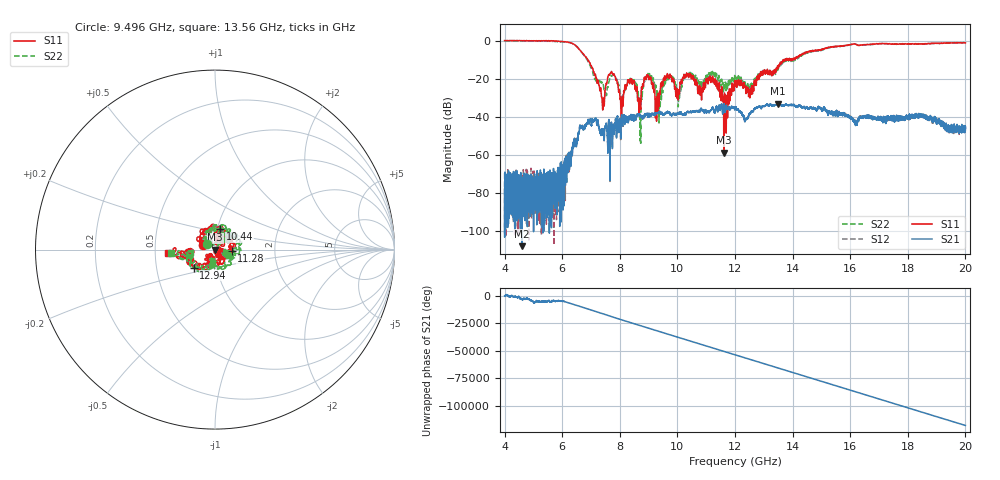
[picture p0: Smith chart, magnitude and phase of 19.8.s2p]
[Version] 2.0
! Rohde & Schwarz Vector Network Analyzer
! Rohde-Schwarz,ZNL20-2Port,1323001220200009,1.71.1.10-23.02.1.238
! Port Assignments:
! Nominal Port -> Actual Test Port
!  1 -> 1
!  2 -> 2
! Created: GMT+2 2025-01-17 12:13:22
# Hz S RI R 50
[Number of Ports] 2
[Two-Port Data Order] 21_12
! freq[Hz]  S11[Re]  S11[Im]  S21[Re]  S21[Im]  S12[Re]  S12[Im]  S22[Re]  S22[Im]
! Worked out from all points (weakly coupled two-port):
!   16001 points, 4 GHz to 20 GHz, reference 50 ohm
!   highest |S21| = -33.07 dB at 13.49 GHz (marker M1); lowest = -108.0 dB at 4.596 GHz (marker M2)
!   lowest |S11| = -58.9 dB at 11.61 GHz (marker M3), VSWR 1.00, Z = 50.1 - j0.0864 ohm
!   |S11| at or under -10 dB: 6.885 GHz to 13.7 GHz (6.816 GHz wide, 66.2 % of centre); 13.71245 GHz to 13.74197 GHz (29.53 MHz wide, 0.215 % of centre); 13.94236 GHz to 13.96575 GHz (23.39 MHz wide, 0.168 % of centre) (the widest 3 of 9)
!   |S22| runs from -54.0 to 0.0 dB; largest |S21 - S12| = 0.0022
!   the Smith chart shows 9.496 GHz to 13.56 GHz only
!   S11 on the Smith chart (normalised r, x): 9.496 GHz: 0.88, +0.04; 10.44 GHz: 1.03, +0.24; 11.28 GHz: 1.20, -0.02; 12.94 GHz: 0.77, -0.16; 13.56 GHz: 0.59, -0.02
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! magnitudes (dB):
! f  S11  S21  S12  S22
! 4 GHz  0.0  -78.1  -69.6  -0.2
! 4.596 GHz  0.0  -108.0  -80.1  -0.1
! 5.763 GHz  -0.3  -81.2  -70.7  -0.5
! 6.667 GHz  -6.0  -45.6  -44.9  -6.0
! 7.399 GHz  -34.9  -49.3  -48.9  -23.2
! 7.727 GHz  -16.8  -46.1  -45.9  -18.7
! 8.047 GHz  -39.3  -42.4  -42.3  -31.9
! 8.43 GHz  -22.9  -41.1  -41.1  -21.5
! 8.715 GHz  -34.8  -39.4  -39.2  -38.8
! 9.005 GHz  -20.4  -38.6  -38.3  -18.7
! 9.334 GHz  -27.8  -38.1  -38.1  -31.2
! 9.496 GHz  -23.1  -38.9  -38.8  -25.2
! 10.44 GHz  -18.6  -37.7  -37.7  -17.8
! 11.28 GHz  -20.7  -37.1  -37.1  -18.2
! 11.61 GHz  -58.9  -33.3  -33.4  -25.0
! 12 GHz  -21.9  -36.2  -36.3  -19.7
! 12.94 GHz  -16.2  -34.7  -34.7  -16.6
! 13.49 GHz  -13.6  -33.1  -33.1  -15.1
! 13.56 GHz  -11.7  -33.6  -33.7  -12.2
! 14.67 GHz  -5.4  -35.3  -35.4  -5.9
! 17.33 GHz  -1.7  -40.9  -41.0  -1.8
! 20 GHz  -1.2  -45.9  -46.0  -1.2
